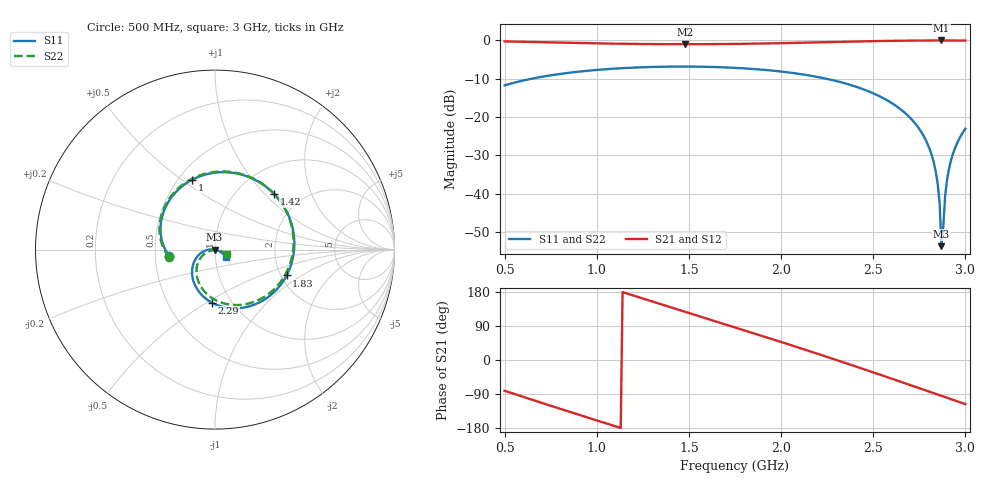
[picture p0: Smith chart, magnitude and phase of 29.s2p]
!freq-unit  param-type  data-format  keyword  impedance-ohms
# GHZ  S  RI  R  50
!Freq  ReS11  ImS11  ReS21  ImS21  ReS12  ImS12  ReS22  ImS22
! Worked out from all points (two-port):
!   251 points, 500 MHz to 3 GHz, reference 50 ohm
!   highest |S21| = -0.08 dB at 2.87 GHz (marker M1); lowest = -1.1 dB at 1.48 GHz (marker M2)
!   |S21| within 3 dB of the highest: start of sweep to end of sweep
!   lowest |S11| = -53.7 dB at 2.87 GHz (marker M3), VSWR 1.00, Z = 49.8 - j0.0251 ohm
!   |S11| at or under -10 dB: start of sweep to 652.2 MHz; 2.24 GHz to end of sweep
!   |S22| runs from -49.6 to -6.9 dB; largest |S21 - S12| = 0
!   S11 on the Smith chart (normalised r, x): 500 MHz: 0.59, -0.04; 1 GHz: 0.58, +0.54; 1.42 GHz: 1.45, +1.14; 1.83 GHz: 2.15, -0.75; 2.29 GHz: 0.81, -0.53; 3 GHz: 1.12, -0.09
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0.5  -0.2554 -0.0343  0.1471 -0.9521  0.1471 -0.9521  -0.254 -0.0435
0.7  -0.3026 0.1375  -0.3655 -0.8656  -0.3655 -0.8656  -0.3092 0.1218
0.92  -0.2014 0.3371  -0.769 -0.4966  -0.769 -0.4966  -0.2238 0.3227
1  -0.1289 0.3883  -0.8503 -0.3184  -0.8503 -0.3184  -0.1573 0.3778
1.17  0.0606 0.4311  -0.8912 0.0856  -0.8912 0.0856  0.023 0.4348
1.34  0.2528 0.3718  -0.7582 0.4618  -0.7582 0.4618  0.2146 0.3952
1.42  0.3282 0.3113  -0.643 0.6098  -0.643 0.6098  0.2936 0.3442
1.48  0.3741 0.2549  -0.5381 0.7036  -0.5381 0.7036  0.344 0.2944
1.75  0.432 -0.056  0.058 0.8918  0.058 0.8918  0.4356 0.000282
1.83  0.3991 -0.1439  0.2478 0.864  0.2478 0.864  0.415 -0.0887
2.17  0.0963 -0.327  0.8715 0.3322  0.8715 0.3322  0.1475 -0.3074
2.29  -0.0157 -0.2965  0.9468 0.0272  0.9468 0.0272  0.0349 -0.295
2.59  -0.1249 -0.0949  0.661 -0.7226  0.661 -0.7226  -0.1035 -0.1179
2.73  -0.0784 -0.0191  0.3224 -0.9341  0.3224 -0.9341  -0.0722 -0.0362
2.81  -0.0358 -0.000402  0.0965 -0.9859  0.0965 -0.9859  -0.0345 -0.00974
2.85  -0.0132 0.00103  -0.0198 -0.9909  -0.0198 -0.9909  -0.0129 -0.00378
2.86  -0.00759 0.000557  -0.0489 -0.9899  -0.0489 -0.9899  -0.00743 -0.00309
2.87  -0.00205 -0.000252  -0.078 -0.988  -0.078 -0.988  -0.00189 -0.00273
2.88  0.00343 -0.00139  -0.107 -0.9853  -0.107 -0.9853  0.00365 -0.00268
2.89  0.00883 -0.00285  -0.1359 -0.9817  -0.1359 -0.9817  0.00918 -0.00296
2.91  0.0193 -0.00673  -0.1933 -0.9718  -0.1933 -0.9718  0.0201 -0.00448
3  0.0586 -0.0385  -0.4395 -0.8853  -0.4395 -0.8853  0.065 -0.0265
